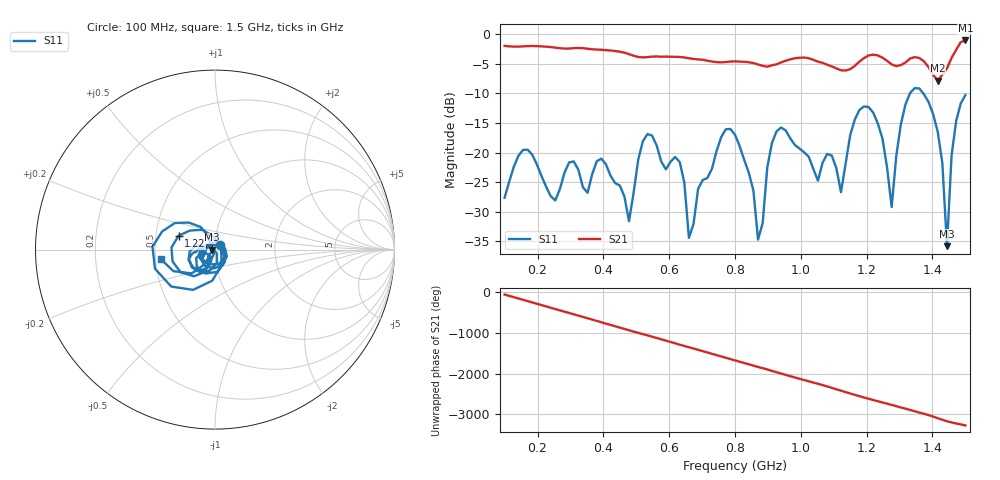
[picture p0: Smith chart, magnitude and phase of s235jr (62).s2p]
! NanoVNA-App
! Date: 2025-09-26 09:45:16
! Start: 100MHz Stop: 1,5GHz Points: 101
! S-Parameter data: F S11 S21 S12 S22
# Hz S RI R 50
!  Frequency  S11_Real  S11_Imag  S21_Real  S21_Imag  S12_Real  S12_Imag  S22_Real  S22_Imag
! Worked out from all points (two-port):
!   101 points, 100 MHz to 1.5 GHz, reference 50 ohm
!   highest |S21| = -1.03 dB at 1.5 GHz (marker M1); lowest = -7.8 dB at 1.416 GHz (marker M2)
!   |S21| within 3 dB of the highest: start of sweep to 658.9 MHz; 1.192 GHz to 1.25 GHz (58.89 MHz wide, 4.82 % of centre)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
!   lowest |S11| = -35.8 dB at 1.444 GHz (marker M3), VSWR 1.03, Z = 48.4 - j0.0304 ohm
!   |S11| at or under -10 dB: start of sweep to 1.331 GHz; 1.372 GHz to end of sweep
!   S12 and S22 are empty: the file has one direction only
!   S11 on the Smith chart (normalised r, x): 100 MHz: 1.06, +0.06; 1.22 GHz: 0.66, +0.11; 1.5 GHz: 0.53, -0.06
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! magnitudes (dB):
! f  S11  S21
! 100 MHz  -27.6  -2.0
! 156 MHz  -19.6  -2.0
! 338 MHz  -25.9  -2.3
! 394 MHz  -21.0  -2.6
! 478 MHz  -31.6  -3.3
! 520 MHz  -18.1  -3.9
! 576 MHz  -21.5  -3.8
! 632 MHz  -21.6  -3.8
! 660 MHz  -34.4  -4.0
! 800 MHz  -17.0  -4.6
! 870 MHz  -34.7  -5.1
! 926 MHz  -16.4  -5.1
! 1.038 GHz  -22.8  -4.3
! 1.122 GHz  -26.7  -6.1
! 1.164 GHz  -14.4  -5.3
! 1.22 GHz  -13.3  -3.4
! 1.276 GHz  -29.2  -5.1
! 1.332 GHz  -9.9  -4.1
! 1.416 GHz  -16.5  -7.8
! 1.444 GHz  -35.8  -5.8
! 1.458 GHz  -20.5  -4.0
! 1.5 GHz  -10.3  -1.0
